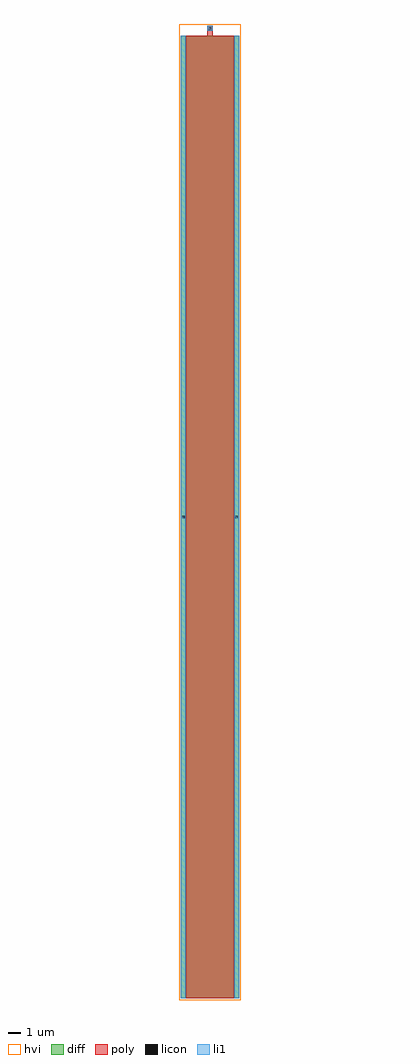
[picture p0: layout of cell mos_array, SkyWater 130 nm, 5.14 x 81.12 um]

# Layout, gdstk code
import gdstk
lib = gdstk.Library(unit=1e-6, precision=1e-09)
def R(c, l, rs):  # rectangles x0, y0, x1, y1
    for r in rs: c.add(gdstk.rectangle(r[:2], r[2:], *l))
diff = (65, 20)
poly = (66, 20)
licon = (66, 44)
li1 = (67, 20)
hvi = (75, 20)

mos_array = lib.new_cell('mos_array')
R(mos_array, diff, [(0,0,4.84,80)])
R(mos_array, poly, [(0.42,0,4.42,80), (2.21,80,2.63,80.82)])
R(mos_array, licon, [(0.1,39.89,0.32,40.11), (4.52,39.89,4.74,40.11), (2.31,80.5,2.53,80.72)])
R(mos_array, li1, [(0,0,0.42,80), (4.42,0,4.84,80), (2.21,80.4,2.63,80.82)])
R(mos_array, hvi, [(-0.15,-0.15,4.99,80.97)])

lib.write_gds('mos_array.gds')
